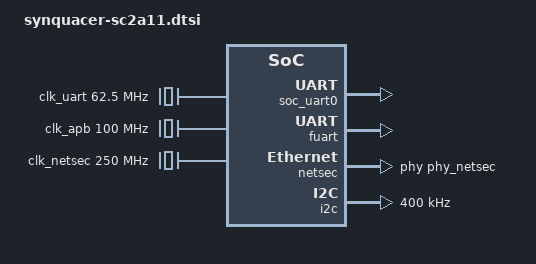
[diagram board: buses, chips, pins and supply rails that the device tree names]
/** @file
 * Copyright (c) 2017 - 2018, Linaro Limited. All rights reserved.
 *
 * SPDX-License-Identifier: BSD-2-Clause-Patent
 */

/* These are added for U-Boot to avoid compilation error */
#define PcdNetsecEepromBase	0x08080000
#define FixedPcdGet32(n)	n

#define GIC_SPI                 0
#define GIC_PPI                 1

#define IRQ_TYPE_NONE           0
#define IRQ_TYPE_EDGE_RISING    1
#define IRQ_TYPE_EDGE_FALLING   2
#define IRQ_TYPE_EDGE_BOTH      (IRQ_TYPE_EDGE_FALLING | IRQ_TYPE_EDGE_RISING)
#define IRQ_TYPE_LEVEL_HIGH     4
#define IRQ_TYPE_LEVEL_LOW      8

#define GPIO_ACTIVE_HIGH        0
#define GPIO_ACTIVE_LOW         1

/ {
    #address-cells = <2>;
    #size-cells = <2>;
    interrupt-parent = <&gic>;

    aliases {
        serial0 = &soc_uart0;
        serial1 = &fuart;
    };

    chosen {
        stdout-path = "serial0:115200n8";
    };

    cpus {
        #address-cells = <1>;
        #size-cells = <0>;

        CPU0: cpu@0 {
            device_type = "cpu";
            compatible = "arm,cortex-a53";
            reg = <0x0>;
            enable-method = "psci";
            cpu-idle-states = <&CPU_SLEEP_0 &CLUSTER_SLEEP_0>;
        };
        CPU1: cpu@1 {
            device_type = "cpu";
            compatible = "arm,cortex-a53";
            reg = <0x1>;
            enable-method = "psci";
            cpu-idle-states = <&CPU_SLEEP_0 &CLUSTER_SLEEP_0>;
        };
        CPU2: cpu@100 {
            device_type = "cpu";
            compatible = "arm,cortex-a53";
            reg = <0x100>;
            enable-method = "psci";
            cpu-idle-states = <&CPU_SLEEP_0 &CLUSTER_SLEEP_0>;
        };
        CPU3: cpu@101 {
            device_type = "cpu";
            compatible = "arm,cortex-a53";
            reg = <0x101>;
            enable-method = "psci";
            cpu-idle-states = <&CPU_SLEEP_0 &CLUSTER_SLEEP_0>;
        };
        CPU4: cpu@200 {
            device_type = "cpu";
            compatible = "arm,cortex-a53";
            reg = <0x200>;
            enable-method = "psci";
            cpu-idle-states = <&CPU_SLEEP_0 &CLUSTER_SLEEP_0>;
        };
        CPU5: cpu@201 {
            device_type = "cpu";
            compatible = "arm,cortex-a53";
            reg = <0x201>;
            enable-method = "psci";
            cpu-idle-states = <&CPU_SLEEP_0 &CLUSTER_SLEEP_0>;
        };
        CPU6: cpu@300 {
            device_type = "cpu";
            compatible = "arm,cortex-a53";
            reg = <0x300>;
            enable-method = "psci";
            cpu-idle-states = <&CPU_SLEEP_0 &CLUSTER_SLEEP_0>;
        };
        CPU7: cpu@301 {
            device_type = "cpu";
            compatible = "arm,cortex-a53";
            reg = <0x301>;
            enable-method = "psci";
            cpu-idle-states = <&CPU_SLEEP_0 &CLUSTER_SLEEP_0>;
        };
        CPU8: cpu@400 {
            device_type = "cpu";
            compatible = "arm,cortex-a53";
            reg = <0x400>;
            enable-method = "psci";
            cpu-idle-states = <&CPU_SLEEP_0 &CLUSTER_SLEEP_0>;
        };
        CPU9: cpu@401 {
            device_type = "cpu";
            compatible = "arm,cortex-a53";
            reg = <0x401>;
            enable-method = "psci";
            cpu-idle-states = <&CPU_SLEEP_0 &CLUSTER_SLEEP_0>;
        };
        CPU10: cpu@500 {
            device_type = "cpu";
            compatible = "arm,cortex-a53";
            reg = <0x500>;
            enable-method = "psci";
            cpu-idle-states = <&CPU_SLEEP_0 &CLUSTER_SLEEP_0>;
        };
        CPU11: cpu@501 {
            device_type = "cpu";
            compatible = "arm,cortex-a53";
            reg = <0x501>;
            enable-method = "psci";
            cpu-idle-states = <&CPU_SLEEP_0 &CLUSTER_SLEEP_0>;
        };
        CPU12: cpu@600 {
            device_type = "cpu";
            compatible = "arm,cortex-a53";
            reg = <0x600>;
            enable-method = "psci";
            cpu-idle-states = <&CPU_SLEEP_0 &CLUSTER_SLEEP_0>;
        };
        CPU13: cpu@601 {
            device_type = "cpu";
            compatible = "arm,cortex-a53";
            reg = <0x601>;
            enable-method = "psci";
            cpu-idle-states = <&CPU_SLEEP_0 &CLUSTER_SLEEP_0>;
        };
        CPU14: cpu@700 {
            device_type = "cpu";
            compatible = "arm,cortex-a53";
            reg = <0x700>;
            enable-method = "psci";
            cpu-idle-states = <&CPU_SLEEP_0 &CLUSTER_SLEEP_0>;
        };
        CPU15: cpu@701 {
            device_type = "cpu";
            compatible = "arm,cortex-a53";
            reg = <0x701>;
            enable-method = "psci";
            cpu-idle-states = <&CPU_SLEEP_0 &CLUSTER_SLEEP_0>;
        };
        CPU16: cpu@800 {
            device_type = "cpu";
            compatible = "arm,cortex-a53";
            reg = <0x800>;
            enable-method = "psci";
            cpu-idle-states = <&CPU_SLEEP_0 &CLUSTER_SLEEP_0>;
        };
        CPU17: cpu@801 {
            device_type = "cpu";
            compatible = "arm,cortex-a53";
            reg = <0x801>;
            enable-method = "psci";
            cpu-idle-states = <&CPU_SLEEP_0 &CLUSTER_SLEEP_0>;
        };
        CPU18: cpu@900 {
            device_type = "cpu";
            compatible = "arm,cortex-a53";
            reg = <0x900>;
            enable-method = "psci";
            cpu-idle-states = <&CPU_SLEEP_0 &CLUSTER_SLEEP_0>;
        };
        CPU19: cpu@901 {
            device_type = "cpu";
            compatible = "arm,cortex-a53";
            reg = <0x901>;
            enable-method = "psci";
            cpu-idle-states = <&CPU_SLEEP_0 &CLUSTER_SLEEP_0>;
        };
        CPU20: cpu@a00 {
            device_type = "cpu";
            compatible = "arm,cortex-a53";
            reg = <0xa00>;
            enable-method = "psci";
            cpu-idle-states = <&CPU_SLEEP_0 &CLUSTER_SLEEP_0>;
        };
        CPU21: cpu@a01 {
            device_type = "cpu";
            compatible = "arm,cortex-a53";
            reg = <0xa01>;
            enable-method = "psci";
            cpu-idle-states = <&CPU_SLEEP_0 &CLUSTER_SLEEP_0>;
        };
        CPU22: cpu@b00 {
            device_type = "cpu";
            compatible = "arm,cortex-a53";
            reg = <0xb00>;
            enable-method = "psci";
            cpu-idle-states = <&CPU_SLEEP_0 &CLUSTER_SLEEP_0>;
        };
        CPU23: cpu@b01 {
            device_type = "cpu";
            compatible = "arm,cortex-a53";
            reg = <0xb01>;
            enable-method = "psci";
            cpu-idle-states = <&CPU_SLEEP_0 &CLUSTER_SLEEP_0>;
        };

        cpu-map {
            cluster0 {
                core0 {
                    cpu = <&CPU0>;
                };
                core1 {
                    cpu = <&CPU1>;
                };
            };
             cluster1 {
                core0 {
                    cpu = <&CPU2>;
                };
                core1 {
                    cpu = <&CPU3>;
                };
            };
            cluster2 {
                core0 {
                    cpu = <&CPU4>;
                };
                core1 {
                    cpu = <&CPU5>;
                };
            };
            cluster3 {
                core0 {
                    cpu = <&CPU6>;
                };
                core1 {
                    cpu = <&CPU7>;
                };
            };
            cluster4 {
                core0 {
                    cpu = <&CPU8>;
                };
                core1 {
                    cpu = <&CPU9>;
                };
            };
            cluster5 {
                core0 {
                    cpu = <&CPU10>;
                };
                core1 {
                    cpu = <&CPU11>;
                };
            };
            cluster6 {
                core0 {
                    cpu = <&CPU12>;
                };
                core1 {
                    cpu = <&CPU13>;
                };
            };
            cluster7 {
                core0 {
                    cpu = <&CPU14>;
                };
                core1 {
                    cpu = <&CPU15>;
                };
            };
            cluster8 {
                core0 {
                    cpu = <&CPU16>;
                };
                core1 {
                    cpu = <&CPU17>;
                };
            };
            cluster9 {
                core0 {
                    cpu = <&CPU18>;
                };
                core1 {
                    cpu = <&CPU19>;
                };
            };
            cluster10 {
                core0 {
                    cpu = <&CPU20>;
                };
                core1 {
                    cpu = <&CPU21>;
                };
            };
            cluster11 {
                core0 {
                    cpu = <&CPU22>;
                };
                core1 {
                    cpu = <&CPU23>;
                };
            };
        };
    };

    idle-states {
        entry-method = "psci";

        CPU_SLEEP_0: cpu-sleep-0 {
            compatible = "arm,idle-state";
            arm,psci-suspend-param = <0x0010000>;
            entry-latency-us = <300>;
            exit-latency-us = <1200>;
            min-residency-us = <2000>;
            local-timer-stop;
        };

        CLUSTER_SLEEP_0: cluster-sleep-0 {
            compatible = "arm,idle-state";
            arm,psci-suspend-param = <0x1010000>;
            entry-latency-us = <400>;
            exit-latency-us = <1200>;
            min-residency-us = <2500>;
            local-timer-stop;
        };
    };

    gic: interrupt-controller@30000000 {
        compatible = "arm,gic-v3";
        reg = <0x0 0x30000000 0x0 0x10000>,      // GICD
              <0x0 0x30400000 0x0 0x300000>,     // GICR
              <0x0 0x2c000000 0x0 0x2000>,       // GICC
              <0x0 0x2c010000 0x0 0x1000>,       // GICH
              <0x0 0x2c020000 0x0 0x10000>;      // GICV
        #interrupt-cells = <3>;
        #address-cells = <2>;
        #size-cells = <2>;
        ranges;
        interrupt-controller;
        interrupts = <GIC_PPI 9 IRQ_TYPE_LEVEL_LOW>;

        its: msi-controller@30020000 {
            compatible = "arm,gic-v3-its";
            reg = <0x0 0x30020000 0x0 0x20000>;
            #msi-cells = <1>;
            msi-controller;
            socionext,synquacer-pre-its = <0x58000000 0x200000>;
        };
    };

    timer {
        compatible = "arm,armv8-timer";
        interrupts = <GIC_PPI 13 IRQ_TYPE_LEVEL_LOW>,   // secure
                     <GIC_PPI 14 IRQ_TYPE_LEVEL_LOW>,   // non-secure
                     <GIC_PPI 11 IRQ_TYPE_LEVEL_LOW>,   // virtual
                     <GIC_PPI 10 IRQ_TYPE_LEVEL_LOW>;   // HYP
    };

    timer@2a810000 {
        compatible = "arm,armv7-timer-mem";
        reg = <0x0 0x2a810000 0x0 0x10000>;
        #address-cells = <1>;
        #size-cells = <1>;
        ranges = <0x0 0x0 0x2a810000 0x30000>;
        frame@20000 {
            frame-number = <0>;
            interrupts = <GIC_SPI 60 IRQ_TYPE_LEVEL_HIGH>;
            reg = <0x20000 0x10000>;
        };
    };

    pmu {
        compatible = "arm,cortex-a53-pmu";
        interrupts =  <GIC_PPI 7 IRQ_TYPE_LEVEL_LOW>;
    };

    psci {
        compatible = "arm,psci-1.0";
        method = "smc";
    };

    clk_uart: refclk62500khz {
        compatible = "fixed-clock";
        #clock-cells = <0>;
        clock-frequency = <62500000>;
        clock-output-names = "uartclk";
    };

    clk_apb: refclk100mhz {
        compatible = "fixed-clock";
        #clock-cells = <0>;
        clock-frequency = <100000000>;
        clock-output-names = "apb_pclk";
    };

    soc_uart0: serial@2a400000 {
        compatible = "arm,pl011", "arm,primecell";
        reg = <0x0 0x2a400000 0x0 0x1000>;
        interrupts = <GIC_SPI 63 IRQ_TYPE_LEVEL_HIGH>;
        clocks = <&clk_uart>, <&clk_apb>;
        clock-names = "uartclk", "apb_pclk";
    };

    fuart: serial@51040000 {
        compatible = "snps,dw-apb-uart";
        reg = <0x0 0x51040000 0x0 0x1000>;
        interrupts = <GIC_SPI 168 IRQ_TYPE_LEVEL_HIGH>;
        clocks = <&clk_uart>, <&clk_apb>;
        clock-names = "baudclk", "apb_pclk";
        reg-io-width = <4>;
        reg-shift = <2>;
    };

    clk_netsec: refclk250mhz {
        compatible = "fixed-clock";
        clock-frequency = <250000000>;
        #clock-cells = <0>;
    };

    netsec: ethernet@522d0000 {
        compatible = "socionext,synquacer-netsec";
        reg = <0 0x522d0000 0x0 0x10000>,
              <0 FixedPcdGet32 (PcdNetsecEepromBase) 0x0 0x10000>;
        interrupts = <GIC_SPI 176 IRQ_TYPE_LEVEL_HIGH>;
        clocks = <&clk_netsec>;
        clock-names = "phy_ref_clk";
        max-speed = <1000>;
        max-frame-size = <9000>;
        phy-handle = <&phy_netsec>;
        dma-coherent;

        mdio_netsec: mdio {
            #address-cells = <1>;
            #size-cells = <0>;
        };
    };

    smmu: iommu@582c0000 {
        compatible = "arm,mmu-500", "arm,smmu-v2";
        reg = <0x0 0x582c0000 0x0 0x10000>;
        #global-interrupts = <1>;
        interrupts = <GIC_SPI 202 IRQ_TYPE_LEVEL_HIGH>,
                     <GIC_SPI 202 IRQ_TYPE_LEVEL_HIGH>,
                     <GIC_SPI 202 IRQ_TYPE_LEVEL_HIGH>;
        #iommu-cells = <1>;
        status = "disabled";
    };

    pcie0: pcie@60000000 {
        compatible = "socionext,synquacer-pcie-ecam", "snps,dw-pcie-ecam";
        device_type = "pci";
        reg = <0x0 0x60000000 0x0 0x7f00000>;
        bus-range = <0x0 0x7e>;
        #address-cells = <3>;
        #size-cells = <2>;
        ranges = <0x1000000 0x00 0x00000000 0x00 0x67f00000 0x0 0x00010000>,
                 <0x2000000 0x00 0x68000000 0x00 0x68000000 0x0 0x08000000>,
                 <0x3000000 0x3e 0x00000000 0x3e 0x00000000 0x1 0x00000000>;

        #interrupt-cells = <0x1>;
        interrupt-map-mask = <0x0 0x0 0x0 0x0>;
        interrupt-map = <0x0 0x0 0x0 0x0 &gic 0x0 0x0 GIC_SPI 190 IRQ_TYPE_LEVEL_HIGH>;

        msi-map = <0x000 &its 0x0 0x7f00>;
        dma-coherent;
        status = "disabled";
    };

    pcie1: pcie@70000000 {
        compatible = "socionext,synquacer-pcie-ecam", "snps,dw-pcie-ecam";
        device_type = "pci";
        reg = <0x0 0x70000000 0x0 0x7f00000>;
        bus-range = <0x0 0x7e>;
        #address-cells = <3>;
        #size-cells = <2>;
        ranges = <0x1000000 0x00 0x00000000 0x00 0x77f00000 0x0 0x00010000>,
                 <0x2000000 0x00 0x78000000 0x00 0x78000000 0x0 0x08000000>,
                 <0x3000000 0x3f 0x00000000 0x3f 0x00000000 0x1 0x00000000>;

        #interrupt-cells = <0x1>;
        interrupt-map-mask = <0x0 0x0 0x0 0x0>;
        interrupt-map = <0x0 0x0 0x0 0x0 &gic 0x0 0x0 GIC_SPI 182 IRQ_TYPE_LEVEL_HIGH>;

        msi-map = <0x0 &its 0x10000 0x7f00>;
        dma-coherent;
        status = "disabled";
    };

    gpio: gpio@51000000 {
        compatible = "socionext,synquacer-gpio", "fujitsu,mb86s70-gpio";
        reg = <0x0 0x51000000 0x0 0x100>;
        gpio-controller;
        #gpio-cells = <2>;
        clocks = <&clk_apb>;
    };

    exiu: interrupt-controller@510c0000 {
        compatible = "socionext,synquacer-exiu";
        reg = <0x0 0x510c0000 0x0 0x20>;
        interrupt-controller;
        interrupt-parent = <&gic>;
        #interrupt-cells = <3>;
        socionext,spi-base = <112>;
    };

    clk_alw_b_0: bclk200 {
        compatible = "fixed-clock";
        #clock-cells = <0>;
        clock-frequency = <200000000>;
        clock-output-names = "sd_bclk";
    };

    clk_alw_c_0: sd4clk800 {
        compatible = "fixed-clock";
        #clock-cells = <0>;
        clock-frequency = <800000000>;
        clock-output-names = "sd_sd4clk";
    };

    sdhci: mmc@52300000 {
        compatible = "socionext,synquacer-sdhci", "fujitsu,mb86s70-sdhci-3.0";
        reg = <0 0x52300000 0x0 0x1000>;
        interrupts = <GIC_SPI 152 IRQ_TYPE_LEVEL_HIGH>,
                     <GIC_SPI 153 IRQ_TYPE_LEVEL_HIGH>;
        bus-width = <8>;
        cap-mmc-highspeed;
        fujitsu,cmd-dat-delay-select;
        clocks = <&clk_alw_c_0 &clk_alw_b_0>;
        clock-names = "core", "iface";
        dma-coherent;
        status = "disabled";
    };

    clk_alw_1_8: spi_ihclk {
        compatible = "fixed-clock";
        #clock-cells = <0>;
        clock-frequency = <125000000>;
        clock-output-names = "iHCLK";
    };

    spi: spi@54810000 {
        compatible = "socionext,synquacer-spi";
        reg = <0x0 0x54810000 0x0 0x1000>;
        interrupts = <GIC_SPI 160 IRQ_TYPE_LEVEL_HIGH>,
                     <GIC_SPI 161 IRQ_TYPE_LEVEL_HIGH>,
                     <GIC_SPI 162 IRQ_TYPE_LEVEL_HIGH>;
        clocks = <&clk_alw_1_8>;
        clock-names = "iHCLK";
        socionext,use-rtm;
        socionext,set-aces;
        #address-cells = <1>;
        #size-cells = <0>;
        status = "disabled";
    };

    clk_i2c: i2c_pclk {
        compatible = "fixed-clock";
        #clock-cells = <0>;
        clock-frequency = <62500000>;
        clock-output-names = "pclk";
    };

    i2c: i2c@51210000 {
        compatible = "socionext,synquacer-i2c";
        reg = <0x0 0x51210000 0x0 0x1000>;
        interrupts = <GIC_SPI 165 IRQ_TYPE_LEVEL_HIGH>;
        clocks = <&clk_i2c>;
        clock-names = "pclk";
        clock-frequency = <400000>;
        #address-cells = <1>;
        #size-cells = <0>;
    };

    tpm: tpm_tis@10000000 {
        compatible = "socionext,synquacer-tpm-mmio";
        reg = <0x0 0x10000000 0x0 0x5000>;
        status = "disabled";
    };

    firmware {
        optee {
            compatible = "linaro,optee-tz";
            method = "smc";
            status = "disabled";
        };
    };
};

#include "synquacer-sc2a11-caches.dtsi"
